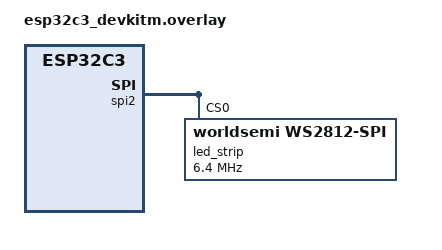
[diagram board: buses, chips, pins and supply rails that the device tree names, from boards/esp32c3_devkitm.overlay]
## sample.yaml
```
sample:
  description: Demonstration of the WS2812 LED driver
  name: WS2812 sample
tests:
  sample.drivers.led.ws2812:
    tags: LED
    filter: dt_compat_enabled("worldsemi,ws2812-spi")
    harness_config:
      fixture: fixture_led_ws2812
    integration_platforms:
      - mimxrt1050_evk
```

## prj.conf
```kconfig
CONFIG_SENSOR=y
CONFIG_PRINTK=y

CONFIG_GPIO=y

CONFIG_LOG=y
CONFIG_I2C=y
CONFIG_LED=y
CONFIG_KSCAN=y
CONFIG_KSCAN_INIT_PRIORITY=95
CONFIG_HT16K33_KEYSCAN=y
```

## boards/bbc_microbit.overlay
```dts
/*
 * Copyright (c) 2019, Nordic Semiconductor ASA
 *
 * SPDX-License-Identifier: Apache-2.0
 */

#include <zephyr/dt-bindings/gpio/gpio.h>
#include <zephyr/dt-bindings/led/led.h>

/ {
	led_strip: ws2812 {
		compatible = "worldsemi,ws2812-gpio";

		chain-length = <16>; /* arbitrary; change at will */
		color-mapping = <LED_COLOR_ID_GREEN
				 LED_COLOR_ID_RED
				 LED_COLOR_ID_BLUE>;
		/* P0: */
		in-gpios = <&gpio0 3 0>;
	};

	aliases {
		led-strip = &led_strip;
	};
};
```

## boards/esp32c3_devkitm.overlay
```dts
/*
 * Copyright (c) 2022 Espressif Systems (Shanghai) Co., Ltd.
 *
 * SPDX-License-Identifier: Apache-2.0
 */

#include <zephyr/dt-bindings/led/led.h>

&spi2 {
	/* Workaround to support WS2812 driver */
	line-idle-low;

        led_strip: ws2812@0 {
                compatible = "worldsemi,ws2812-spi";

                /* SPI */
                reg = <0>; /* ignored, but necessary for SPI bindings */
                spi-max-frequency = <6400000>;

                /* WS2812 */
                chain-length = <1>; /* arbitrary; change at will */
                spi-cpha;
                spi-one-frame = <0xf0>; /* 11110000: 625 ns high and 625 ns low */
                spi-zero-frame = <0xc0>; /* 11000000: 312.5 ns high and 937.5 ns low */
                color-mapping = <LED_COLOR_ID_GREEN
                                 LED_COLOR_ID_RED
                                 LED_COLOR_ID_BLUE>;
        };
};

&pinctrl {
	spim2_default: spim2_default {
		group2 {
			pinmux = <SPIM2_MOSI_GPIO8>;
		};
	};
};

/ {
        aliases {
                led-strip = &led_strip;
        };
};
```

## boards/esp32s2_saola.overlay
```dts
/*
 * Copyright (c) 2022 Espressif Systems (Shanghai) Co., Ltd.
 *
 * SPDX-License-Identifier: Apache-2.0
 */

#include <zephyr/dt-bindings/led/led.h>

&spi3 {
	/* Workaround to support WS2812 driver */
	line-idle-low;

        led_strip: ws2812@0 {
                compatible = "worldsemi,ws2812-spi";

                /* SPI */
                reg = <0>; /* ignored, but necessary for SPI bindings */
                spi-max-frequency = <6400000>;

                /* WS2812 */
                chain-length = <1>; /* arbitrary; change at will */
                spi-cpha;
                spi-one-frame = <0xf0>; /* 11110000: 625 ns high and 625 ns low */
                spi-zero-frame = <0xc0>; /* 11000000: 312.5 ns high and 937.5 ns low */
                color-mapping = <LED_COLOR_ID_GREEN
                                 LED_COLOR_ID_RED
                                 LED_COLOR_ID_BLUE>;
        };
};

&pinctrl {
	spim3_default: spim3_default {
		group2 {
			pinmux = <SPIM3_MOSI_GPIO18>;
		};
	};
};

/ {
        aliases {
                led-strip = &led_strip;
        };
};
```

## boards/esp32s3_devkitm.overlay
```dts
/*
 * Copyright (c) 2022 Espressif Systems (Shanghai) Co., Ltd.
 *
 * SPDX-License-Identifier: Apache-2.0
 */

#include <zephyr/dt-bindings/led/led.h>

&spi3 {
	/* Workaround to support WS2812 driver */
	line-idle-low;

        led_strip: ws2812@0 {
                compatible = "worldsemi,ws2812-spi";

                /* SPI */
                reg = <0>; /* ignored, but necessary for SPI bindings */
                spi-max-frequency = <6400000>;

                /* WS2812 */
                chain-length = <1>; /* arbitrary; change at will */
                spi-cpha;
                spi-one-frame = <0xf0>; /* 11110000: 625 ns high and 625 ns low */
                spi-zero-frame = <0xc0>; /* 11000000: 312.5 ns high and 937.5 ns low */
                color-mapping = <LED_COLOR_ID_GREEN
                                 LED_COLOR_ID_RED
                                 LED_COLOR_ID_BLUE>;
        };
};

&pinctrl {
	spim3_default: spim3_default {
		group2 {
			pinmux = <SPIM3_MOSI_GPIO48>;
		};
	};
};

/ {
        aliases {
                led-strip = &led_strip;
        };
};
```

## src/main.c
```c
/*
 * Copyright (c) 2022 Valerio Setti <valerio.setti@gmail.com>
 *
 * SPDX-License-Identifier: Apache-2.0
 */

#include <zephyr/kernel.h>
#include <zephyr/device.h>
#include <zephyr/drivers/sensor.h>
#include <zephyr/sys/printk.h>
#include <zephyr/drivers/gpio.h>

#if !DT_NODE_EXISTS(DT_ALIAS(qdec0))
#error "Unsupported board: qdec0 devicetree alias is not defined"
#endif

#define SW_NODE DT_NODELABEL(gpiosw)
#if !DT_NODE_HAS_STATUS(SW_NODE, okay)
#error "Unsupported board: gpiosw devicetree alias is not defined or enabled"
#endif


static const struct gpio_dt_spec sw = GPIO_DT_SPEC_GET(SW_NODE, gpios);

static bool sw_led_flag = false;


static struct gpio_callback sw_cb_data;
static int seconds = 80;

const struct device *dev;

// 타이머 핸들러 함수
void timer_handler2(struct k_timer *dummy)
{
    struct sensor_value val;
    int rc;

    rc = sensor_sample_fetch(dev);
    if (rc != 0) {
        printk("Failed to fetch sample (%d)\n", rc);
        return;
    }

    rc = sensor_channel_get(dev, SENSOR_CHAN_ROTATION, &val);
    if (rc != 0) {
        printk("Failed to get data (%d)\n", rc);
        return;
    }

    printk("Position = %d degrees \n", val.val1);
}

K_TIMER_DEFINE(my_timer2, timer_handler2, NULL);

void sw_callback(const struct device *dev, struct gpio_callback *cb, uint32_t pins)
{
    printk("SW pressed\n");
    sw_led_flag = !sw_led_flag;
}

int main(void)
{
    gpio_init_callback(&sw_cb_data, sw_callback, BIT(sw.pin));
    gpio_add_callback(sw.port, &sw_cb_data);

    printk("Quadrature decoder sensor test\n");

    // 타이머 시작 (100ms 주기)
    k_timer_start(&my_timer2, K_MSEC(100), K_MSEC(100));


    return 0;
}
```

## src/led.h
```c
#include <zephyr/drivers/led.h>
#include <zephyr/drivers/kscan.h>
#include <zephyr/devicetree.h>
#include <zephyr/kernel.h>

#define LED_NODE DT_COMPAT_GET_ANY_STATUS_OKAY(holtek_ht16k33)
#define KEY_NODE DT_CHILD(LED_NODE, keyscan)

#define MAX_LED_NUM 128
#define MAX_ROTARY_IDX 15

static const struct device *const led = DEVICE_DT_GET(LED_NODE);

// int led_init(void);

void led_off_all(void);
void led_on_idx(int idx);

// [0]
// * * * * * * * * * * * * * * * *  0 ~ 15
// * * * * * * * * * * * * * * * * 16 ~ 31
// * * * * * * * * * * * * * * * * 32 ~ 47
// x x x x x x x x * * * * * * * * 48 ~ 63 (48 ~ 55)
// * * * * * * * * x x x x x x x x 64 ~ 79 (72 ~ 79)
// * * * * * * * * * * * * * * * * 80 ~ 95
// * * * * * * * * * * * * * * * * 96 ~ 111
// * * * * * * * * * * * * * * * * 112 ~ 127

// [1]
// * * * * * * * * * * * * * * * *  0 ~ 15
// * * * * * * * * * * * * * * * * 16 ~ 31
// x x x * * * * * * * * * * * * * 32 ~ 47 (32 ~ 34)
// * * * x x x x x * * * * * * * * 48 ~ 63 (51 ~ 55)
// * * * * * * * * x x x x x * * * 64 ~ 79 (72 ~ 76)
// * * * * * * * * * * * * * x x x 80 ~ 95 (93 ~ 95)
// * * * * * * * * * * * * * * * * 96 ~ 111
// * * * * * * * * * * * * * * * * 112 ~ 127

// [2]
// * * * * * * * * * * * * * * * *  0 ~ 15
// x x * * * * * * * * * * * * * * 16 ~ 31 (16 ~ 17)
// * * x x x * * * * * * * * * * * 32 ~ 47 (34 ~ 36)
// * * * * * x x x * * * * * * * * 48 ~ 63 (53 ~ 55)
// * * * * * * * * x x x * * * * * 64 ~ 79 (72 ~ 74)
// * * * * * * * * * * * x x x * * 80 ~ 95 (91 ~ 93)
// * * * * * * * * * * * * * * x x 96 ~ 111 (110 ~ 111)
// * * * * * * * * * * * * * * * * 112 ~ 127

// [3]
// x x * * * * * * * * * * * * * *  0 ~ 15 (0 ~ 1)
// * * x x * * * * * * * * * * * * 16 ~ 31 (18 ~ 19)
// * * * * x x * * * * * * * * * * 32 ~ 47 (36 ~ 37)
// * * * * * * x x * * * * * * * * 48 ~ 63 (54 ~ 55)
// * * * * * * * * x x * * * * * * 64 ~ 79 (72 ~ 73)
// * * * * * * * * * * x x * * * * 80 ~ 95 (90 ~ 91)
// * * * * * * * * * * * * x x * * 96 ~ 111 (108 ~ 109)
// * * * * * * * * * * * * * * x x 112 ~ 127 (126 ~ 127)

// [4]
// * * x * * * * * * * * * * * * *  0 ~ 15 (2)
// * * * x x * * * * * * * * * * * 16 ~ 31 (19 ~ 20)
// * * * * * x * * * * * * * * * * 32 ~ 47 (37)
// * * * * * * x x * * * * * * * * 48 ~ 63 (54 ~ 55)
// * * * * * * * * x x * * * * * * 64 ~ 79 (72 ~ 73)
// * * * * * * * * * x x * * * * * 80 ~ 95 (89 ~ 90)
// * * * * * * * * * * * x x * * * 96 ~ 111 (107 ~ 108)
// * * * * * * * * * * * * * x * * 112 ~ 127 (125)

// [5]
// * * * * x * * * * * * * * * * *  0 ~ 15 (4)
// * * * * * x * * * * * * * * * * 16 ~ 31 (21)
// * * * * * * x * * * * * * * * * 32 ~ 47 (38)
// * * * * * * * x * * * * * * * * 48 ~ 63 (55)
// * * * * * * * * x * * * * * * * 64 ~ 79 (72)
// * * * * * * * * * x * * * * * * 80 ~ 95 (89)
// * * * * * * * * * * x * * * * * 96 ~ 111 (106)
// * * * * * * * * * * * x * * * * 112 ~ 127 (123)

// [6]
// * * * * * * x * * * * * * * * *  0 ~ 15 (6)
// * * * * * * x * * * * * * * * * 16 ~ 31 (22)
// * * * * * * * x * * * * * * * * 32 ~ 47 (39)
// * * * * * * * x * * * * * * * * 48 ~ 63 (55)
// * * * * * * * * x * * * * * * * 64 ~ 79 (72)
// * * * * * * * * x * * * * * * * 80 ~ 95 (88)
// * * * * * * * * * x * * * * * * 96 ~ 111 (105)
// * * * * * * * * * x * * * * * * 112 ~ 127 (121)

// [7]
// * * * * * * * x * * * * * * * *  0 ~ 15 (7)
// * * * * * * * x * * * * * * * * 16 ~ 31 (23)
// * * * * * * * x * * * * * * * * 32 ~ 47 (39)
// * * * * * * * x * * * * * * * * 48 ~ 63 (55)
// * * * * * * * * x * * * * * * * 64 ~ 79 (72)
// * * * * * * * * x * * * * * * * 80 ~ 95 (88)
// * * * * * * * * x * * * * * * * 96 ~ 111 (104)
// * * * * * * * * x * * * * * * * 112 ~ 127 (120)

// [8]
// * * * * * * * * * x * * * * * *  0 ~ 15 (9)
// * * * * * * * * * x * * * * * * 16 ~ 31 (25)
// * * * * * * * * x * * * * * * * 32 ~ 47 (40)
// * * * * * * * * x * * * * * * * 48 ~ 63 (56)
// * * * * * * * x * * * * * * * * 64 ~ 79 (71)
// * * * * * * * x * * * * * * * * 80 ~ 95 (87)
// * * * * * * x * * * * * * * * * 96 ~ 111 (102)
// * * * * * * x * * * * * * * * * 112 ~ 127 (118)

// [9]
// * * * * * * * * * * * x * * * *  0 ~ 15 (11)
// * * * * * * * * * * x * * * * * 16 ~ 31 (25)
// * * * * * * * * * x * * * * * * 32 ~ 47 (41)
// * * * * * * * * x * * * * * * * 48 ~ 63 (56)
// * * * * * * * x * * * * * * * * 64 ~ 79 (71)
// * * * * * * x * * * * * * * * * 80 ~ 95 (86)
// * * * * * x * * * * * * * * * * 96 ~ 111 (101)
// * * * * x * * * * * * * * * * * 112 ~ 127 (116)

// [10]
// * * * * * * * * * * * * * x * *  0 ~ 15
// * * * * * * * * * * * x x * * * 16 ~ 31
// * * * * * * * * * * x * * * * * 32 ~ 47
// * * * * * * * * x x * * * * * * 48 ~ 63 (48 ~ 55)
// * * * * * * x x * * * * * * * * 64 ~ 79 (72 ~ 79)
// * * * * * x x * * * * * * * * * 80 ~ 95
// * * * x x * * * * * * * * * * * 96 ~ 111
// * * x * * * * * * * * * * * * * 112 ~ 127

// [11]
// * * * * * * * * * * * * * * x x  0 ~ 15 (14 ~ 15)
// * * * * * * * * * * * * x x * * 16 ~ 31 (28 ~ 29)
// * * * * * * * * * * x x * * * * 32 ~ 47 (42 ~ 43)
// * * * * * * * * x x * * * * * * 48 ~ 63 (56 ~ 57)
// * * * * * * x x * * * * * * * * 64 ~ 79 (70 ~ 71)
// * * * * x x * * * * * * * * * * 80 ~ 95 (84 ~ 85)
// * * x x * * * * * * * * * * * * 96 ~ 111 (98 ~ 99)
// x x * * * * * * * * * * * * * * 112 ~ 127 (112 ~ 113)

// [12]
// * * * * * * * * * * * * * * * *  0 ~ 15 (14 ~ 15)
// * * * * * * * * * * * * * * x x 16 ~ 31 (30 ~ 31)
// * * * * * * * * * * * x x x * * 32 ~ 47 (43 ~ 45)
// * * * * * * * * x x x * * * * * 48 ~ 63 (56 ~ 58)
// * * * * * x x x * * * * * * * * 64 ~ 79 (69 ~ 71)
// * * x x x * * * * * * * * * * * 80 ~ 95 (82 ~ 84)
// x x * * * * * * * * * * * * * * 96 ~ 111 (96 ~ 97)
// * * * * * * * * * * * * * * * * 112 ~ 127

// [13]
// * * * * * * * * * * * * * * * *  0 ~ 15
// * * * * * * * * * * * * * * * * 16 ~ 31
// * * * * * * * * * * * * * x x x 32 ~ 47 (45 ~ 47)
// * * * * * * * * x x x x x * * * 48 ~ 63 (56 ~ 60)
// * * * x x x x x * * * * * * * * 64 ~ 79 (67 ~ 71)
// x x x * * * * * * * * * * * * * 80 ~ 95 (80 ~ 82)
// * * * * * * * * * * * * * * * * 96 ~ 111
// * * * * * * * * * * * * * * * * 112 ~ 127

// [14]
// * * * * * * * * * * * * * * * *  0 ~ 15
// * * * * * * * * * * * * * * * * 16 ~ 31
// * * * * * * * * * * * * * * * * 32 ~ 47
// * * * * * * * * x x x x x x x x 48 ~ 63 (56 ~ 63)
// x x x x x x x x * * * * * * * * 64 ~ 79 (64 ~ 71)
// * * * * * * * * * * * * * * * * 80 ~ 95
// * * * * * * * * * * * * * * * * 96 ~ 111
// * * * * * * * * * * * * * * * * 112 ~ 127
```

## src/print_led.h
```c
#include <zephyr/drivers/led.h>
#include <zephyr/drivers/kscan.h>
#include <zephyr/devicetree.h>
#include <zephyr/kernel.h>
#include "led.h"

#define MAX_LED_MATRIX_IDX 10
#define MAX_LED_NUM 128
#define MAX_LED_MATRIX_NUM 64

#define TENS_START_INDEX 0
#define UNITS_START_INDEX 8

#define LED_NODE DT_COMPAT_GET_ANY_STATUS_OKAY(holtek_ht16k33)
#define KEY_NODE DT_CHILD(LED_NODE, keyscan)

// static const struct device *const led = DEVICE_DT_GET(LED_NODE);
// extern const struct device *const led;


int led_init(void);
void led_on_seconds(int seconds);
```
